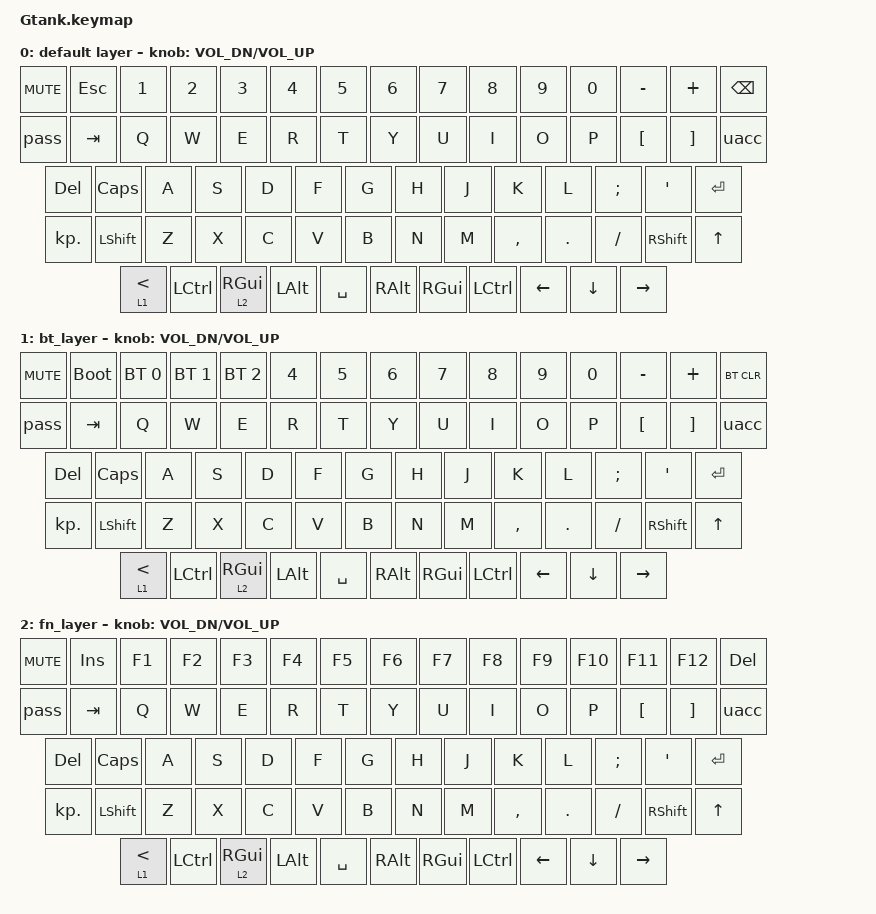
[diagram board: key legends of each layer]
#include <behaviors.dtsi>
#include <dt-bindings/zmk/keys.h>
#include <dt-bindings/zmk/bt.h>

 
 

/ {
   
   

 macros {
        uacc: uacc {
            label = "uacc";
            compatible = "zmk,behavior-macro";
            #binding-cells = <0>;
            bindings
                = <&macro_press &kp LALT>
                , <&macro_tap &kp KP_N1 &kp KP_N5 &kp KP_N1>
                , <&macro_release &kp LALT>
                ;
        };

        pass: pass {
            label = "pass";
            compatible = "zmk,behavior-macro";
            #binding-cells = <0>;
            bindings
                = <&macro_tap &kp N1 &kp N7 &kp N0 &kp N8>
                ;
        };
    };

                       



    keymap {
        compatible = "zmk,keymap";

        default_layer {
            label = "default layer";
            bindings = < 

            &kp C_MUTE    &kp ESC       &kp N1     &kp N2     &kp N3     &kp N4    &kp N5    &kp N6     &kp N7     &kp N8    &kp N9      &kp N0       &kp MINUS    &kp PLUS    &kp BSPC   

            &pass         &kp TAB       &kp Q      &kp W      &kp E      &kp R     &kp T     &kp Y      &kp U      &kp I     &kp O       &kp P        &kp LBKT     &kp RBKT     &uacc     

            &kp DEL      &kp CAPS     &kp A      &kp S      &kp D      &kp F     &kp G     &kp H      &kp J      &kp K     &kp L       &kp SEMI     &kp SQT      &kp ENTER    

            &kp KP_DOT   &kp LSHIFT    &kp Z      &kp X      &kp C      &kp V     &kp B     &kp N      &kp M      &kp COMMA &kp DOT     &kp SLASH   &kp RSHIFT   &kp UP      

            &lt 1 LT        &kp LCTRL     &lt 2 RGUI &kp LALT   &kp SPACE  &kp RALT  &kp RGUI  &kp LCTRL  &kp LEFT   &kp DOWN  &kp RIGHT   

            >;
              sensor-bindings = <&inc_dec_kp C_VOL_DN C_VOL_UP>;      
            };

        bt_layer {
            label = "bt_layer";
            bindings = <
            &kp C_MUTE &bootloader   &bt BT_SEL 0    &bt BT_SEL 1    &bt BT_SEL 2     &kp N4    &kp N5    &kp N6     &kp N7     &kp N8    &kp N9      &kp N0       &kp MINUS    &kp PLUS     &bt BT_CLR 

            &pass    &kp TAB       &kp Q      &kp W      &kp E      &kp R     &kp T     &kp Y      &kp U      &kp I     &kp O       &kp P        &kp LBKT     &kp RBKT     &uacc   

            &kp DEL &kp CAPS      &kp A      &kp S      &kp D      &kp F     &kp G     &kp H      &kp J      &kp K     &kp L       &kp SEMI     &kp SQT      &kp ENTER    

            &kp KP_DOT &kp LSHIFT    &kp Z      &kp X      &kp C     &kp V     &kp B      &kp N      &kp M     &kp COMMA   &kp DOT      &kp SLASH    &kp RSHIFT   &kp UP      

            &lt 1 LT   &kp LCTRL     &lt 2 RGUI   &kp LALT   &kp SPACE  &kp RALT  &kp RGUI  &kp LCTRL  &kp LEFT   &kp DOWN  &kp RIGHT

            >;
              sensor-bindings = <&inc_dec_kp C_VOL_DN C_VOL_UP>;     


            };


        fn_layer {
            label = "fn_layer";
            bindings = <
            &kp C_MUTE &kp INS       &kp F1     &kp F2     &kp F3     &kp F4    &kp F5    &kp F6     &kp F7     &kp F8    &kp F9      &kp F10      &kp F11      &kp F12      &kp DEL   

            &pass    &kp TAB       &kp Q      &kp W      &kp E      &kp R     &kp T     &kp Y      &kp U      &kp I     &kp O       &kp P        &kp LBKT     &kp RBKT     &uacc     

            &kp DEL  &kp CAPS      &kp A      &kp S      &kp D      &kp F     &kp G     &kp H      &kp J      &kp K     &kp L       &kp SEMI     &kp SQT      &kp ENTER    

            &kp KP_DOT &kp LSHIFT    &kp Z      &kp X      &kp C     &kp V     &kp B      &kp N      &kp M     &kp COMMA   &kp DOT      &kp SLASH    &kp RSHIFT   &kp UP      

            &lt 1 LT   &kp LCTRL    &lt 2 RGUI    &kp LALT   &kp SPACE  &kp RALT  &kp RGUI &kp LCTRL  &kp LEFT   &kp DOWN  &kp RIGHT   

            >;
             sensor-bindings = <&inc_dec_kp C_VOL_DN C_VOL_UP>;      
 
             };
            
         };
};
        
        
